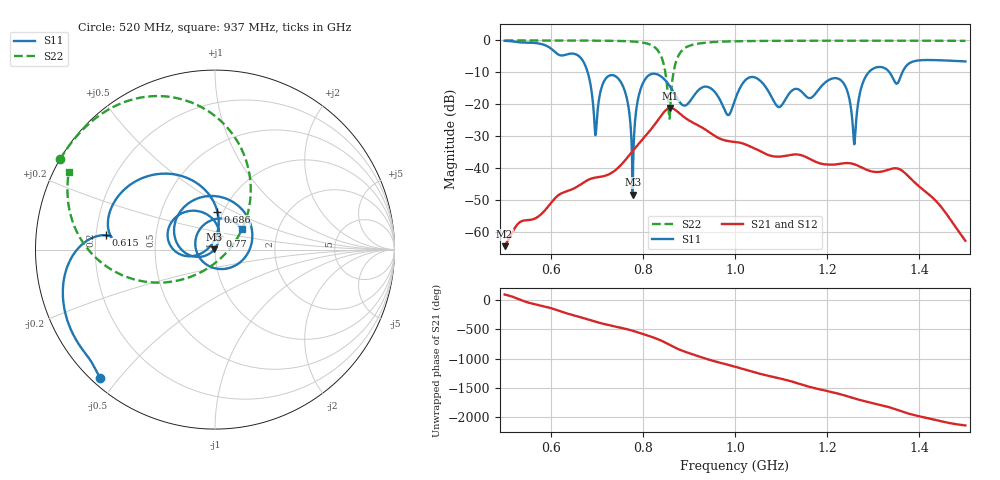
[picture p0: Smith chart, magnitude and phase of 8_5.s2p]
! TOUCHSTONE file generated by CST MICROWAVE STUDIO
! Date and time: Mon Nov 30 08:39:29 2020
! Project name: Scenario_1_Planar_Body_Tissue_Out_of_Line.cst
! Parameters = {dy1=-224.9; L_HA=400; Ltissue=700; MT=2.54; Rad_Dielectric=30; Rad_Lower=7.3; Rad_Upper=30; Wtissue=700; a_HA=580; a_WG=246; b_HA=500; b_WG=121; c_HA=0; c_WG=187; d_feed=85; dx1=866; h_feed=15; h_lower=18; h_upper=40; hfat=3; hgap=25; hmuscle=50; hskin=1.5}
! Header version: 2018
! Port assignment regex: !\s*Touchstone port\s*([0-9]+)\s*=\s*(CST MWS port|CST DS port)\s*([0-9]+|Zmin|Zmax)\s*\(\"(.*)\"\)(\s*mode\s*([0-9]+))?.*
! Touchstone port assignment:
! Touchstone port 1 = CST MWS port 1 ("")
! Touchstone port 2 = CST MWS port 2 ("")
# GHz S DB R 50
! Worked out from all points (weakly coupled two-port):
!   1003 points, 500 MHz to 1.5 GHz, reference 50 ohm
!   highest |S21| = -21.19 dB at 860 MHz (marker M1); lowest = -64.5 dB at 500 MHz (marker M2)
!   lowest |S11| = -48.3 dB at 778 MHz (marker M3), VSWR 1.01, Z = 49.6 + j0.126 ohm
!   |S11| at or under -10 dB: 680.3 MHz to 1.29 GHz (609.8 MHz wide, 61.9 % of centre); 1.335 GHz to 1.363 GHz (27.99 MHz wide, 2.07 % of centre)
!   |S22| runs from -24.5 to 0.0 dB; largest |S21 - S12| = 4e-06
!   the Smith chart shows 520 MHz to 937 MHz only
!   S11 on the Smith chart (normalised r, x): 520 MHz: 0.02, -0.45; 615 MHz: 0.24, +0.06; 686 MHz: 0.94, +0.41; 770 MHz: 1.04, +0.16; 937 MHz: 1.31, +0.31
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0.5  -0.12 -122.1  -64.49 95.4  -64.48 95.4  -0.01 151.2
0.52  -0.36 -131.7  -59.30 49.7  -59.30 49.7  -0.01 149.8
0.615  -4.27 172.5  -48.72 -174.7  -48.72 -174.7  -0.02 142.9
0.667  -5.79 124.5  -44.94 62.3  -44.94 62.3  -0.04 138.4
0.686  -13.50 86.3  -43.41 16.7  -43.41 16.7  -0.05 136.4
0.697  -29.73 132.5  -42.99 -9.4  -42.99 -9.4  -0.06 135.2
0.73  -10.89 153.7  -41.68 -72.8  -41.68 -72.8  -0.11 130.8
0.77  -22.00 72.3  -36.08 -146.6  -36.08 -146.6  -0.27 123.1
0.778  -48.29 160.7  -34.65 -164.6  -34.65 -164.6  -0.33 120.9
0.797  -14.48 179.4  -31.41 148.8  -31.41 148.8  -0.61 113.9
0.834  -10.80 74.8  -24.71 47.0  -24.71 47.0  -3.44 83.4
0.86  -14.65 -5.2  -21.19 -53.5  -21.19 -53.5  -19.55 -108.7
0.88  -19.33 -82.3  -22.89 -128.6  -22.89 -128.6  -4.08 -172.4
0.937  -14.47 37.4  -28.07 76.9  -28.07 76.9  -0.70 152.1
1  -18.65 109.6  -31.80 -59.4  -31.80 -59.4  -0.26 140.1
1.037  -11.45 -13.3  -33.49 -144.5  -33.49 -144.5  -0.18 135.7
1.167  -17.82 171.3  -37.49 -54.8  -37.49 -54.8  -0.09 124.2
1.229  -12.38 5.0  -38.64 -171.4  -38.64 -171.4  -0.08 119.4
1.259  -32.56 25.3  -38.82 118.8  -38.82 118.8  -0.08 117.2
1.285  -11.00 51.0  -40.50 63.1  -40.50 63.1  -0.08 115.2
1.334  -9.77 -14.1  -40.46 -31.0  -40.46 -31.0  -0.08 111.5
1.5  -6.58 -44.8  -62.79 15.3  -62.79 15.3  -0.13 97.9
